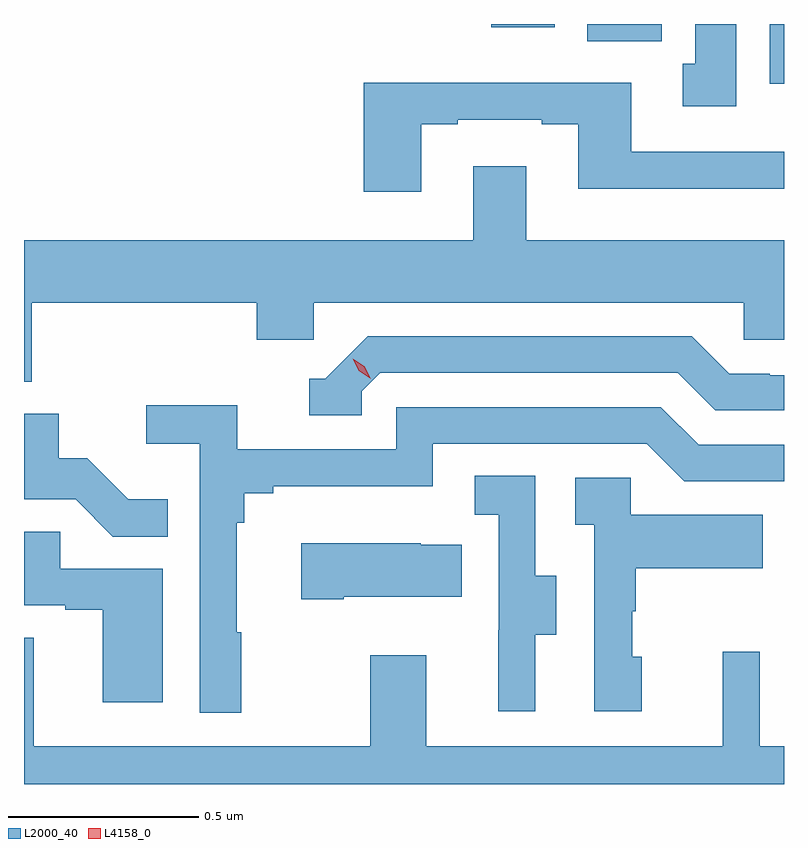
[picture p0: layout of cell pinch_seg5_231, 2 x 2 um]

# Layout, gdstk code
import gdstk
lib = gdstk.Library(unit=1e-6, precision=1e-09)
def R(c, l, rs):  # rectangles x0, y0, x1, y1
    for r in rs: c.add(gdstk.rectangle(r[:2], r[2:], *l))
def P(c, l, *ps):  # polygons
    for p in ps: c.add(gdstk.Polygon(p, *l))
L2000_40 = (2000, 40)
L4158_0 = (4158, 0)

pinch_seg5_231 = lib.new_cell('pinch_seg5_231')
R(pinch_seg5_231, L2000_40, [(958.973,903.956,959.011,904.113), (958.493,904.068,958.689,904.113), (958.241,904.104,958.408,904.113)])
P(pinch_seg5_231, L2000_40, [(958.885,904.113),(958.778,904.113),(958.778,904.009),(958.745,904.009),(958.745,903.897),(958.885,903.897)],
  [(958.057,903.849),(958.153,903.849),(958.153,903.861),(958.373,903.861),(958.373,903.849),(958.469,903.849),(958.469,903.68),(959.011,903.68),(959.011,903.777),(958.609,903.777),(958.609,903.958),(957.905,903.958),(957.905,903.672),(958.057,903.672)],
  [(957.032,903.38),(957.623,903.38),(957.623,903.282),(957.774,903.282),(957.774,903.38),(958.905,903.38),(958.905,903.282),(959.011,903.282),(959.011,903.544),(958.333,903.544),(958.333,903.739),(958.193,903.739),(958.193,903.544),(957.011,903.544),(957.011,903.172),(957.032,903.172)],
  [(957.9,903.147),(957.948,903.195),(958.731,903.195),(958.83,903.096),(959.011,903.096),(959.011,903.189),(958.974,903.189),(958.974,903.192),(958.867,903.192),(958.768,903.291),(957.915,903.291),(957.804,903.18),(957.761,903.18),(957.761,903.084),(957.9,903.084)],
  [(957.583,902.513),(957.571,902.513),(957.571,902.801),(957.59,902.801),(957.59,902.878),(957.667,902.878),(957.667,902.897),(958.086,902.897),(958.086,903.009),(958.65,903.009),(958.749,902.91),(959.011,902.91),(959.011,903.006),(958.786,903.006),(958.687,903.105),(957.99,903.105),(957.99,902.994),(957.572,902.994),(957.572,903.11),(957.333,903.11),(957.333,903.008),(957.474,903.008),(957.474,902.301),(957.583,902.301)],
  [(957.389,902.863),(957.285,902.863),(957.178,902.97),(957.102,902.97),(957.102,903.087),(957.011,903.087),(957.011,902.862),(957.147,902.862),(957.245,902.764),(957.389,902.764)],
  [(958.357,902.506),(958.411,902.506),(958.411,902.661),(958.356,902.661),(958.356,902.924),(958.197,902.924),(958.197,902.821),(958.26,902.821),(958.26,902.517),(958.259,902.517),(958.259,902.304),(958.357,902.304)],
  [(958.636,902.448),(958.611,902.448),(958.611,902.567),(958.621,902.567),(958.621,902.681),(958.955,902.681),(958.955,902.821),(958.608,902.821),(958.608,902.919),(958.461,902.919),(958.461,902.795),(958.512,902.795),(958.512,902.304),(958.636,902.304)],
  [(957.376,902.679),(957.107,902.679),(957.107,902.777),(957.012,902.777),(957.012,902.583),(957.119,902.583),(957.119,902.571),(957.218,902.571),(957.218,902.328),(957.376,902.328)],
  [(957.853,902.606),(958.163,902.606),(958.163,902.743),(958.055,902.743),(958.055,902.746),(957.741,902.746),(957.741,902.599),(957.853,902.599)],
  [(957.922,902.452),(957.922,902.212),(957.037,902.212),(957.037,902.498),(957.011,902.498),(957.011,902.113),(959.011,902.113),(959.011,902.212),(958.947,902.212),(958.947,902.461),(958.85,902.461),(958.85,902.212),(958.069,902.212),(958.069,902.452)])
P(pinch_seg5_231, L4158_0, [(957.923,903.18),(957.892,903.2),(957.876,903.232),(957.876,903.232),(957.876,903.232),(957.907,903.213),(957.924,903.18),(957.924,903.18)])

lib.write_gds('pinch_seg5_231.gds')
